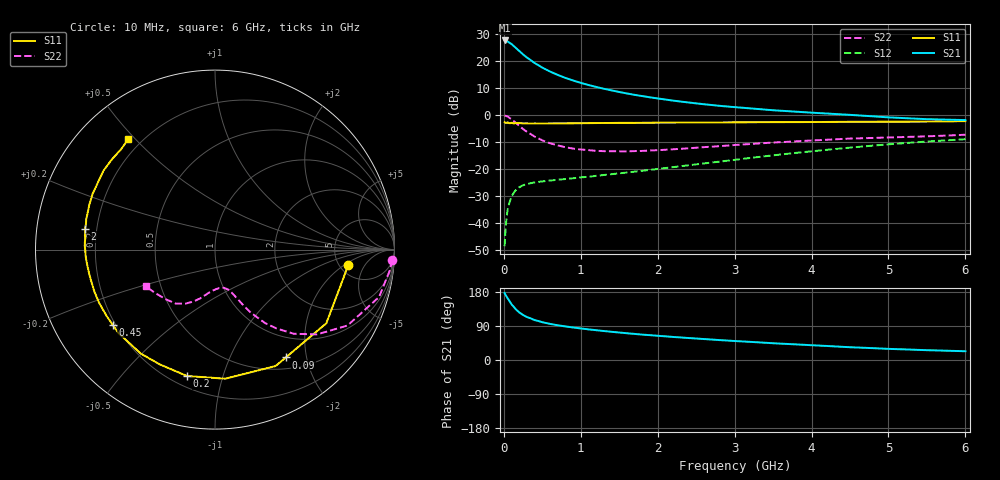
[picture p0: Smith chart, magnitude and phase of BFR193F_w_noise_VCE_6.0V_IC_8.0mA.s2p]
! Infineon Technologies  Discrete & RF Semiconductors
! BFR193F
! VCE =  6.0 V,  IC =  8.0 mA
! Common Emitter S-Parameters:  Jan 2017
# GHz  S  MA  R  50
!  f  S11  S21  S12  S22
! GHz  MAG  ANG  MAG  ANG  MAG  ANG  MAG  ANG
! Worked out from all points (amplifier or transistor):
!   77 points, 10 MHz to 6 GHz, reference 50 ohm
!   highest |S21| = 27.7 dB at 10 MHz (marker M1)
!   |S21| within 3 dB of that: start of sweep to 165.4 MHz
!   unconditionally stable (mu >= 1): 1.633 GHz to 2.905 GHz
!   at 130 MHz: K = 0.14, MSG = 27.1 dB, |S12| = -28.7 dB
!   at 2.2 GHz: K = 1.05, MAG = 10.9 dB, |S12| = -19.2 dB
!   at 6 GHz: K = 0.79, MSG = 3.5 dB, |S12| = -8.8 dB
!   lowest NFmin = 0.84 dB at 450 MHz
!   S11 on the Smith chart (normalised r, x): 10 MHz: 6.02, -2.31; 90 MHz: 0.66, -1.65; 200 MHz: 0.26, -0.77; 450 MHz: 0.19, -0.32; 2 GHz: 0.15, +0.08; 6 GHz: 0.15, +0.48
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0.01  0.7478 -6.5  24.3 176.8  0.0038 89.7  0.9899 -3.4
0.02  0.73 -14.3  23.9 172.7  0.0069 87.2  0.9818 -6.6
0.05  0.7437 -33.5  23.3 162.4  0.0182 74.2  0.9516 -16.1
0.09  0.7188 -56.7  21.24 150.2  0.0289 63.8  0.8668 -26.8
0.1  0.7313 -62.5  20.9 146.8  0.0316 62.3  0.8509 -29.8
0.15  0.7215 -85.5  18 134.9  0.0405 53.9  0.7382 -39.8
0.2  0.7213 -102.5  15.53 125.6  0.0467 47.1  0.6421 -46.9
0.25  0.7097 -115.6  13.38 118.7  0.051 42.4  0.5578 -52.0
0.3  0.7118 -125.5  11.75 113.4  0.0536 39.5  0.4964 -55.7
0.4  0.7111 -139.2  9.29 105.3  0.0574 37.2  0.4042 -60.4
0.45  0.7074 -143.8  8.453 102.8  0.0587 36.8  0.3744 -61.7
0.6  0.7106 -155.3  6.469 95.3  0.0621 37.1  0.305 -65.2
0.7  0.7115 -160.7  5.604 91.7  0.0644 38.0  0.2778 -67.1
0.9  0.7134 -168.4  4.414 85.8  0.0685 41.2  0.2427 -70.4
1.1  0.7176 -173.8  3.641 80.8  0.0728 45.2  0.2273 -74.0
1.5  0.7259 178.3  2.706 72.5  0.0847 52.2  0.2158 -82.0
2  0.733 171.0  2.054 63.9  0.102 59.6  0.2266 -92.2
2.1  0.733 169.8  1.963 62.4  0.106 60.8  0.231 -93.9
3.1  0.7442 159.5  1.383 49.0  0.1563 69.2  0.2886 -107.9
4.1  0.7532 149.0  1.101 38.0  0.2233 70.7  0.3481 -120.2
5.1  0.7632 137.7  0.904 28.7  0.2983 66.9  0.3937 -136.8
6  0.7829 128.1  0.818 23.1  0.3615 61.5  0.4378 -152.1
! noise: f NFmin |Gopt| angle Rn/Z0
0.45  0.84  0.25  124  0.08
0.9  0.99  0.4  147  0.07
1.9  1.74  0.61  -177  0.05
2.4  2.11  0.64  -167  0.08
